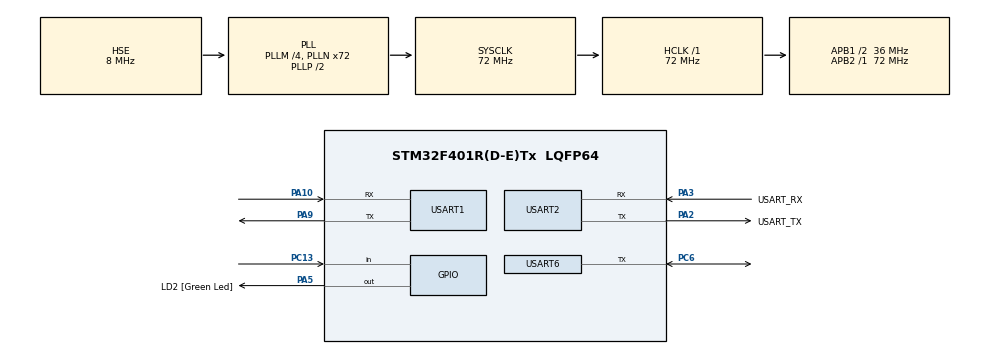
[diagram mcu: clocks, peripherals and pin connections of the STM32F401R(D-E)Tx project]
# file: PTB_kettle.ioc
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Mcu.Family=STM32F4
Mcu.Name=STM32F401R(D-E)Tx
Mcu.Package=LQFP64
NVIC.PriorityGroup=NVIC_PRIORITYGROUP_0
PA0-WKUP.Signal=S_TIM2_CH1_ETR
PA10.Mode=Asynchronous
PA10.Signal=USART1_RX
PA13.GPIO_Label=TMS
PA13.Mode=Serial_Wire
PA13.Signal=SYS_JTMS-SWDIO
PA14.GPIO_Label=TCK
PA14.Mode=Serial_Wire
PA14.Signal=SYS_JTCK-SWCLK
PA2.GPIO_Label=USART_TX
PA2.GPIO_Mode=GPIO_MODE_AF_PP
PA2.GPIO_PuPd=GPIO_NOPULL
PA2.GPIO_Speed=GPIO_SPEED_FREQ_LOW
PA2.Mode=Asynchronous
PA2.Signal=USART2_TX
PA3.GPIO_Label=USART_RX
PA3.GPIO_Mode=GPIO_MODE_AF_PP
PA3.GPIO_PuPd=GPIO_NOPULL
PA3.GPIO_Speed=GPIO_SPEED_FREQ_LOW
PA3.Mode=Asynchronous
PA3.Signal=USART2_RX
PA5.GPIO_Label=LD2 [Green Led]
PA5.GPIO_Mode=GPIO_MODE_OUTPUT_PP
PA5.GPIO_PuPd=GPIO_NOPULL
PA5.GPIO_Speed=GPIO_SPEED_FREQ_LOW
PA5.Signal=GPIO_Output
PA9.Mode=Asynchronous
PA9.Signal=USART1_TX
PB3.GPIO_Label=SWO
PB3.Signal=SYS_JTDO-SWO
PC13-ANTI_TAMP.Signal=GPIO_Input
PC14-OSC32_IN.Mode=LSE-External-Oscillator
PC14-OSC32_IN.Signal=RCC_OSC32_IN
PC15-OSC32_OUT.Mode=LSE-External-Oscillator
PC15-OSC32_OUT.Signal=RCC_OSC32_OUT
PC6.Mode=Half_duplex(single_wire_mode)
PC6.Signal=USART6_TX
PH0\ -\ OSC_IN.Mode=HSE-External-Oscillator
PH0\ -\ OSC_IN.Signal=RCC_OSC_IN
PH1\ -\ OSC_OUT.Mode=HSE-External-Oscillator
PH1\ -\ OSC_OUT.Signal=RCC_OSC_OUT
ProjectManager.HeapSize=0x200
ProjectManager.StackSize=0x400
ProjectManager.TargetToolchain=STM32CubeIDE
RCC.48MHZClocksFreq_Value=20571428.57142857
RCC.AHBFreq_Value=72000000
RCC.APB1CLKDivider=RCC_HCLK_DIV2
RCC.APB1Freq_Value=36000000
RCC.APB1TimFreq_Value=72000000
RCC.APB2Freq_Value=72000000
RCC.APB2TimFreq_Value=72000000
RCC.CortexFreq_Value=72000000
RCC.HCLKFreq_Value=72000000
RCC.HSE_VALUE=8000000
RCC.HSI_VALUE=16000000
RCC.PLLM=4
RCC.PLLN=72
RCC.PLLQ=7
RCC.PLLSourceVirtual=RCC_PLLSOURCE_HSE
RCC.SYSCLKFreq_VALUE=72000000
RCC.SYSCLKSource=RCC_SYSCLKSOURCE_PLLCLK
RCC.VCOOutputFreq_Value=144000000
SH.S_TIM2_CH1_ETR.0=TIM2_CH1
USART1.VirtualMode=VM_ASYNC
USART2.VirtualMode=VM_ASYNC
USART6.VirtualMode=VM_ASYNC
VP_TIM2_VS_ClockSourceINT.Mode=Internal
board=NUCLEO-F401RE

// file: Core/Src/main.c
/* USER CODE BEGIN Header */
/**
  ******************************************************************************
  * @file           : main.c
  * @brief          : Main program body
  ******************************************************************************
  * @attention
  *
  * Copyright (c) 2024 STMicroelectronics.
  * All rights reserved.
  *
  * This software is licensed under terms that can be found in the LICENSE file
  * in the root directory of this software component.
  * If no LICENSE file comes with this software, it is provided AS-IS.
  *
  ******************************************************************************
  */
/* USER CODE END Header */
#include "main.h"

/* USER CODE BEGIN Includes */
#include "stm32f4xx_ll_usart.h"
#include "SERVO.h"
#include <string.h>

/* USER CODE END Includes */

/* USER CODE BEGIN PD */
#define SERVO_Motor1   0
/* USER CODE END PD */

TIM_HandleTypeDef htim2;

UART_HandleTypeDef huart1;
UART_HandleTypeDef huart2;
UART_HandleTypeDef huart6;

void SystemClock_Config(void);
static void MX_GPIO_Init(void);
static void MX_USART2_UART_Init(void);
static void MX_TIM2_Init(void);
static void MX_USART1_UART_Init(void);
static void MX_USART6_UART_Init(void);
/* USER CODE BEGIN PFP */
uint8_t buzzerOn = 0; // tracks if buzzer has already been activated
uint8_t status = 0; // tracks which stage of tea-making we are on
uint8_t message[] = "start"; // message to tell remote to start buzzer
static uint8_t DS18B20_reset(void);
static uint8_t DS18B20_readBit(void);
static uint8_t DS18B20_readByte(void);
static void DS18B20_write(uint8_t); // in bytes
float DS18B20_readTemperature(void);
void DS18B20_resetTemperature(void);
/* USER CODE END PFP */

int main(void)
{

  /* MCU Configuration--------------------------------------------------------*/

  /* Reset of all peripherals, Initializes the Flash interface and the Systick. */
  HAL_Init();

  /* USER CODE BEGIN Init */
  uint8_t high_temp = 0;
  uint8_t low_temp = 0;
  uint8_t time = 0; // never used a bit useless
  uint8_t data[3] = {0, 0, 0};
  uint8_t status = 1;
  float currentTemp = 0;
  /* USER CODE END Init */

  /* Configure the system clock */
  SystemClock_Config();

  /* Initialize all configured peripherals */
  MX_GPIO_Init();
  MX_USART2_UART_Init();
  MX_TIM2_Init();
  MX_USART1_UART_Init();
  MX_USART6_UART_Init();
  /* USER CODE BEGIN 2 */
  SERVO_Init(SERVO_Motor1);
  /* USER CODE END 2 */

  /* Infinite loop */
  /* USER CODE BEGIN WHILE */
  //HAL_UART_Receive(&huart1, received, sizeof(received), 1);
  // data is sent over as ex: 25.3,48.5
  //sscanf((char*)received, "%f,%f", &high_temp, &low_temp);

  while (1)
  {
    /* USER CODE END WHILE */

    /* USER CODE BEGIN 3 */
	  // If button has been pressed
	  if(HAL_UART_Receive(&huart1, data, sizeof(data), HAL_MAX_DELAY) == HAL_OK){
		  high_temp = data[0];
		  low_temp = data[1];
		  time = data[2];

		  // Receive temperature every 100ms until temp is midway between high and low
		  while(currentTemp < ((high_temp-low_temp)/2 + low_temp)){
			  DS18B20_resetTemperature();
			  currentTemp = DS18B20_readTemperature();
			  HAL_Delay(100);
		  }

		  // If past temperature is done
		  HAL_UART_Transmit(&huart1, &status, 1, 1);
	  }

  }
  /* USER CODE END 3 */
}

void SystemClock_Config(void)
{
  RCC_OscInitTypeDef RCC_OscInitStruct = {0};
  RCC_ClkInitTypeDef RCC_ClkInitStruct = {0};

  /** Configure the main internal regulator output voltage
  */
  __HAL_RCC_PWR_CLK_ENABLE();
  __HAL_PWR_VOLTAGESCALING_CONFIG(PWR_REGULATOR_VOLTAGE_SCALE2);

  /** Initializes the RCC Oscillators according to the specified parameters
  * in the RCC_OscInitTypeDef structure.
  */
  RCC_OscInitStruct.OscillatorType = RCC_OSCILLATORTYPE_HSE;
  RCC_OscInitStruct.HSEState = RCC_HSE_ON;
  RCC_OscInitStruct.PLL.PLLState = RCC_PLL_ON;
  RCC_OscInitStruct.PLL.PLLSource = RCC_PLLSOURCE_HSE;
  RCC_OscInitStruct.PLL.PLLM = 4;
  RCC_OscInitStruct.PLL.PLLN = 72;
  RCC_OscInitStruct.PLL.PLLP = RCC_PLLP_DIV2;
  RCC_OscInitStruct.PLL.PLLQ = 7;
  if (HAL_RCC_OscConfig(&RCC_OscInitStruct) != HAL_OK)
  {
    Error_Handler();
  }

  /** Initializes the CPU, AHB and APB buses clocks
  */
  RCC_ClkInitStruct.ClockType = RCC_CLOCKTYPE_HCLK|RCC_CLOCKTYPE_SYSCLK
                              |RCC_CLOCKTYPE_PCLK1|RCC_CLOCKTYPE_PCLK2;
  RCC_ClkInitStruct.SYSCLKSource = RCC_SYSCLKSOURCE_PLLCLK;
  RCC_ClkInitStruct.AHBCLKDivider = RCC_SYSCLK_DIV1;
  RCC_ClkInitStruct.APB1CLKDivider = RCC_HCLK_DIV2;
  RCC_ClkInitStruct.APB2CLKDivider = RCC_HCLK_DIV1;

  if (HAL_RCC_ClockConfig(&RCC_ClkInitStruct, FLASH_LATENCY_2) != HAL_OK)
  {
    Error_Handler();
  }
}

static void MX_TIM2_Init(void)
{

  TIM_ClockConfigTypeDef sClockSourceConfig = {0};
  TIM_MasterConfigTypeDef sMasterConfig = {0};

  htim2.Instance = TIM2;
  htim2.Init.Prescaler = 0;
  htim2.Init.CounterMode = TIM_COUNTERMODE_UP;
  htim2.Init.Period = 4294967295;
  htim2.Init.ClockDivision = TIM_CLOCKDIVISION_DIV1;
  htim2.Init.AutoReloadPreload = TIM_AUTORELOAD_PRELOAD_DISABLE;
  if (HAL_TIM_Base_Init(&htim2) != HAL_OK)
  {
    Error_Handler();
  }
  sClockSourceConfig.ClockSource = TIM_CLOCKSOURCE_INTERNAL;
  if (HAL_TIM_ConfigClockSource(&htim2, &sClockSourceConfig) != HAL_OK)
  {
    Error_Handler();
  }
  sMasterConfig.MasterOutputTrigger = TIM_TRGO_RESET;
  sMasterConfig.MasterSlaveMode = TIM_MASTERSLAVEMODE_DISABLE;
  if (HAL_TIMEx_MasterConfigSynchronization(&htim2, &sMasterConfig) != HAL_OK)
  {
    Error_Handler();
  }

}

static void MX_USART1_UART_Init(void)
{

  huart1.Instance = USART1;
  huart1.Init.BaudRate = 115200;
  huart1.Init.WordLength = UART_WORDLENGTH_8B;
  huart1.Init.StopBits = UART_STOPBITS_1;
  huart1.Init.Parity = UART_PARITY_NONE;
  huart1.Init.Mode = UART_MODE_TX_RX;
  huart1.Init.HwFlowCtl = UART_HWCONTROL_NONE;
  huart1.Init.OverSampling = UART_OVERSAMPLING_16;
  if (HAL_UART_Init(&huart1) != HAL_OK)
  {
    Error_Handler();
  }

}

static void MX_USART2_UART_Init(void)
{

  huart2.Instance = USART2;
  huart2.Init.BaudRate = 115200;
  huart2.Init.WordLength = UART_WORDLENGTH_8B;
  huart2.Init.StopBits = UART_STOPBITS_1;
  huart2.Init.Parity = UART_PARITY_NONE;
  huart2.Init.Mode = UART_MODE_TX_RX;
  huart2.Init.HwFlowCtl = UART_HWCONTROL_NONE;
  huart2.Init.OverSampling = UART_OVERSAMPLING_16;
  if (HAL_UART_Init(&huart2) != HAL_OK)
  {
    Error_Handler();
  }

}

static void MX_USART6_UART_Init(void)
{

  huart6.Instance = USART6;
  huart6.Init.BaudRate = 115200;
  huart6.Init.WordLength = UART_WORDLENGTH_8B;
  huart6.Init.StopBits = UART_STOPBITS_1;
  huart6.Init.Parity = UART_PARITY_NONE;
  huart6.Init.Mode = UART_MODE_TX_RX;
  huart6.Init.HwFlowCtl = UART_HWCONTROL_NONE;
  huart6.Init.OverSampling = UART_OVERSAMPLING_16;
  if (HAL_HalfDuplex_Init(&huart6) != HAL_OK)
  {
    Error_Handler();
  }

}

static void MX_GPIO_Init(void)
{
  GPIO_InitTypeDef GPIO_InitStruct = {0};

  /* GPIO Ports Clock Enable */
  __HAL_RCC_GPIOC_CLK_ENABLE();
  __HAL_RCC_GPIOH_CLK_ENABLE();
  __HAL_RCC_GPIOA_CLK_ENABLE();
  __HAL_RCC_GPIOB_CLK_ENABLE();

  /*Configure GPIO pin Output Level */
  HAL_GPIO_WritePin(LD2_GPIO_Port, LD2_Pin, GPIO_PIN_RESET);

  /*Configure GPIO pin : PC13 */
  GPIO_InitStruct.Pin = GPIO_PIN_13;
  GPIO_InitStruct.Mode = GPIO_MODE_INPUT;
  GPIO_InitStruct.Pull = GPIO_NOPULL;
  HAL_GPIO_Init(GPIOC, &GPIO_InitStruct);

  /*Configure GPIO pin : LD2_Pin */
  GPIO_InitStruct.Pin = LD2_Pin;
  GPIO_InitStruct.Mode = GPIO_MODE_OUTPUT_PP;
  GPIO_InitStruct.Pull = GPIO_NOPULL;
  GPIO_InitStruct.Speed = GPIO_SPEED_FREQ_LOW;
  HAL_GPIO_Init(LD2_GPIO_Port, &GPIO_InitStruct);

}

/* USER CODE BEGIN 4 */
static uint8_t DS18B20_reset(void){
    // 11110000 = 0xF0 (need 5 LOW, 1 from master other 4 from reset)
	uint8_t reset = 0xF0, device;

	// Lower baud rate for timings
    LL_USART_SetBaudRate(huart6.Instance, HAL_RCC_GetPCLK2Freq(), LL_USART_OVERSAMPLING_16, 9600);

    HAL_UART_Transmit(&huart6, &reset, 1, 1);
    HAL_UART_Receive(&huart6, &device, 1, 1);

    LL_USART_SetBaudRate(huart6.Instance, HAL_RCC_GetPCLK2Freq(), LL_USART_OVERSAMPLING_16, 115200);

    // Check if device available
    if (device != reset) return 1;
    else return 0;
}

static void DS18B20_write(uint8_t data){
    uint8_t buffer[8];

    for (int i = 0; i < 8; i++){
      if ((data & (1<<i)) == 0) buffer[i] = 0; // bit 0: 8 LOW bytes
      else buffer[i] = 0xFF; // bit 1: 11111111 = 0xFF (8 HIGH bytes)
    }

    HAL_UART_Transmit(&huart6, buffer, 8, 10);
}

static uint8_t DS18B20_readBit(void){
	// 0xFF (8 HIGH bytes)
	uint8_t readBit = 0xFF, bit;

    // Send read bit command and receive
    HAL_UART_Transmit(&huart6, &readBit, 1, 1);
    HAL_UART_Receive(&huart6, &bit, 1, 1);

    // 00000001 = 0x01 gets last bit (since only sent by single bit)
    return (bit & 0x01);
}

static uint8_t DS18B20_readByte(void){
    uint8_t byte = 0;

    for (int i = 0; i < 8; i++){
        byte >>= 1; // shift bit one to the right

        // 10000000 = 0x80 if bit is 1 add
        if (DS18B20_readBit()) byte |= 0x80;
    }
    return byte;
}

void DS18B20_resetTemperature(void){
    DS18B20_reset();
    DS18B20_write(0xCC);  // Skip ROM [CCh] since only 1 sensor
    DS18B20_write(0x44);  // Convert T [44h] to start temp conversion
}

float DS18B20_readTemperature(void){
    uint8_t LSB, MSB;
    float temperature;

    DS18B20_reset();
    DS18B20_write(0xCC);  // Skip ROM [CCh] since only 1 sensor
    DS18B20_write(0xBE);  // Read Scratchpad [BEh] to get temp data

    LSB = DS18B20_readByte();
    MSB = DS18B20_readByte();

    temperature = (float)((MSB<<8)|LSB)/16.0;

    return temperature;
}
/* USER CODE END 4 */

void Error_Handler(void)
{
  __disable_irq();
  while (1)
  {
  }
}
